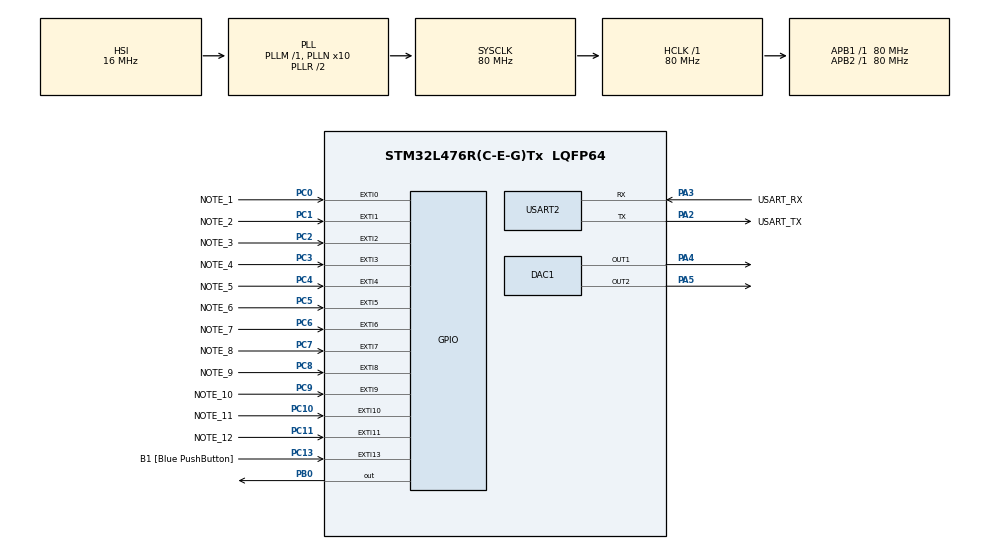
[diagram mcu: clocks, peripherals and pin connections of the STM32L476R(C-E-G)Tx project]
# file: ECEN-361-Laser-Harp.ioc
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DAC1.DAC_Channel-DAC_OUT2=DAC_CHANNEL_2
Mcu.Family=STM32L4
Mcu.Name=STM32L476R(C-E-G)Tx
Mcu.Package=LQFP64
NVIC.EXTI0_IRQn=true\:0\:0\:false\:false\:true\:true\:true\:true
NVIC.EXTI15_10_IRQn=true\:0\:0\:false\:false\:true\:true\:true\:true
NVIC.EXTI1_IRQn=true\:0\:0\:false\:false\:true\:true\:true\:true
NVIC.EXTI2_IRQn=true\:0\:0\:false\:false\:true\:true\:true\:true
NVIC.EXTI3_IRQn=true\:0\:0\:false\:false\:true\:true\:true\:true
NVIC.EXTI4_IRQn=true\:0\:0\:false\:false\:true\:true\:true\:true
NVIC.EXTI9_5_IRQn=true\:0\:0\:false\:false\:true\:true\:true\:true
NVIC.PriorityGroup=NVIC_PRIORITYGROUP_4
NVIC.TIM1_BRK_TIM15_IRQn=true\:0\:0\:false\:false\:true\:true\:true\:true
NVIC.TIM6_DAC_IRQn=true\:0\:0\:false\:false\:true\:true\:true\:true
NVIC.USART2_IRQn=true\:0\:0\:false\:false\:true\:true\:true\:true
PA13\ (JTMS-SWDIO).GPIO_Label=TMS
PA13\ (JTMS-SWDIO).Mode=Serial_Wire
PA13\ (JTMS-SWDIO).Signal=SYS_JTMS-SWDIO
PA14\ (JTCK-SWCLK).GPIO_Label=TCK
PA14\ (JTCK-SWCLK).Mode=Serial_Wire
PA14\ (JTCK-SWCLK).Signal=SYS_JTCK-SWCLK
PA2.GPIO_Label=USART_TX
PA2.GPIO_Mode=GPIO_MODE_AF_PP
PA2.GPIO_PuPd=GPIO_NOPULL
PA2.GPIO_Speed=GPIO_SPEED_FREQ_VERY_HIGH
PA2.Mode=Asynchronous
PA2.Signal=USART2_TX
PA3.GPIO_Label=USART_RX
PA3.GPIO_Mode=GPIO_MODE_AF_PP
PA3.GPIO_PuPd=GPIO_NOPULL
PA3.GPIO_Speed=GPIO_SPEED_FREQ_VERY_HIGH
PA3.Mode=Asynchronous
PA3.Signal=USART2_RX
PA4.Signal=COMP_DAC11_group
PA5.Signal=COMP_DAC12_group
PB0.Signal=GPIO_Output
PB3\ (JTDO-TRACESWO).GPIO_Label=SWO
PB3\ (JTDO-TRACESWO).Signal=SYS_JTDO-SWO
PC0.GPIO_Label=NOTE_1
PC0.GPIO_ModeDefaultEXTI=GPIO_MODE_IT_RISING
PC0.GPIO_PuPd=GPIO_PULLDOWN
PC0.Signal=GPXTI0
PC1.GPIO_Label=NOTE_2
PC1.GPIO_PuPd=GPIO_PULLDOWN
PC1.Signal=GPXTI1
PC10.GPIO_Label=NOTE_11
PC10.GPIO_PuPd=GPIO_PULLDOWN
PC10.Signal=GPXTI10
PC11.GPIO_Label=NOTE_12
PC11.GPIO_PuPd=GPIO_PULLDOWN
PC11.Signal=GPXTI11
PC13.GPIO_Label=B1 [Blue PushButton]
PC13.GPIO_ModeDefaultEXTI=GPIO_MODE_IT_FALLING
PC13.GPIO_PuPd=GPIO_NOPULL
PC13.Signal=GPXTI13
PC14-OSC32_IN\ (PC14).Mode=LSE-External-Oscillator
PC14-OSC32_IN\ (PC14).Signal=RCC_OSC32_IN
PC15-OSC32_OUT\ (PC15).Mode=LSE-External-Oscillator
PC15-OSC32_OUT\ (PC15).Signal=RCC_OSC32_OUT
PC2.GPIO_Label=NOTE_3
PC2.GPIO_PuPd=GPIO_PULLDOWN
PC2.Signal=GPXTI2
PC3.GPIO_Label=NOTE_4
PC3.GPIO_PuPd=GPIO_PULLDOWN
PC3.Signal=GPXTI3
PC4.GPIO_Label=NOTE_5
PC4.GPIO_PuPd=GPIO_PULLDOWN
PC4.Signal=GPXTI4
PC5.GPIO_Label=NOTE_6
PC5.GPIO_PuPd=GPIO_PULLDOWN
PC5.Signal=GPXTI5
PC6.GPIO_Label=NOTE_7
PC6.GPIO_PuPd=GPIO_PULLDOWN
PC6.Signal=GPXTI6
PC7.GPIO_Label=NOTE_8
PC7.GPIO_PuPd=GPIO_PULLDOWN
PC7.Signal=GPXTI7
PC8.GPIO_Label=NOTE_9
PC8.GPIO_PuPd=GPIO_PULLDOWN
PC8.Signal=GPXTI8
PC9.GPIO_Label=NOTE_10
PC9.GPIO_PuPd=GPIO_PULLDOWN
PC9.Signal=GPXTI9
PH0-OSC_IN\ (PH0).Signal=RCC_OSC_IN
PH1-OSC_OUT\ (PH1).Signal=RCC_OSC_OUT
ProjectManager.HeapSize=0x200
ProjectManager.StackSize=0x400
ProjectManager.TargetToolchain=STM32CubeIDE
RCC.ADCFreq_Value=64000000
RCC.AHBFreq_Value=80000000
RCC.APB1Freq_Value=80000000
RCC.APB1TimFreq_Value=80000000
RCC.APB2Freq_Value=80000000
RCC.APB2TimFreq_Value=80000000
RCC.CortexFreq_Value=80000000
RCC.HCLKFreq_Value=80000000
RCC.HSE_VALUE=8000000
RCC.HSI_VALUE=16000000
RCC.MSI_VALUE=4000000
RCC.PLLN=10
RCC.PLLSourceVirtual=RCC_PLLSOURCE_HSI
RCC.PREFETCH_ENABLE=1
RCC.SYSCLKFreq_VALUE=80000000
RCC.SYSCLKSource=RCC_SYSCLKSOURCE_PLLCLK
RCC.USBFreq_Value=64000000
RCC.VCOOutputFreq_Value=160000000
SH.COMP_DAC11_group.0=DAC1_OUT1,DAC_OUT1
SH.COMP_DAC12_group.0=DAC1_OUT2,DAC_OUT2
TIM15.AutoReloadPreload=TIM_AUTORELOAD_PRELOAD_ENABLE
TIM15.Period=9
TIM15.Prescaler=80-1
USART2.VirtualMode-Asynchronous=VM_ASYNC
VP_TIM15_VS_ClockSourceINT.Mode=Internal
board=NUCLEO-L476RG

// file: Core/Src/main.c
/* USER CODE BEGIN Header */
/*
    __                               __  __
   / /   ____ _ _____ ___   _____   / / / /____ _ _____ ____
  / /   / __ `// ___// _ \ / ___/  / /_/ // __ `// ___// __ \
 / /___/ /_/ /(__  )/  __// /     / __  // /_/ // /   / /_/ /
/_____/\__,_//____/ \___//_/     /_/ /_/ \__,_//_/   / .___/
                                                    /_/
*/
/**
  ******************************************************************************
  * @file           : main.c
  * @brief          : Main program body
  ******************************************************************************
  * @attention
  *
  * Copyright (c) 2024 STMicroelectronics.
  * All rights reserved.
  *
  * This software is licensed under terms that can be found in the LICENSE file
  * in the root directory of this software component.
  * If no LICENSE file comes with this software, it is provided AS-IS.
  *
  ******************************************************************************
  * Authors: Ian Searle
  * Version: 1.0.0
  */
/* USER CODE END Header */
#include "main.h"

/* USER CODE BEGIN Includes */
#include "sine_tables.h"

/* USER CODE END Includes */

/* USER CODE BEGIN PM */

/* These defines represent the point in a list where that notes data is held.*/
#define NOTE_C 		0
#define NOTE_Cs 	1
#define NOTE_D 		2
#define NOTE_Ds 	3
#define NOTE_E 		4
#define NOTE_F 		5
#define NOTE_Fs 	6
#define NOTE_G 		7
#define NOTE_Gs 	8
#define NOTE_A 		9
#define NOTE_As		10
#define NOTE_B 		11

/* USER CODE END PM */

DAC_HandleTypeDef hdac1;

TIM_HandleTypeDef htim15;

UART_HandleTypeDef huart2;

/* USER CODE BEGIN PV */
/* Index and Active are lists that are 12 long. This is to improve spatial locality in the program.
Using the above stated define we can thats notes data from the list*/
int index[]= {0,0,0,0,0,0,0,0,0,0,0,0};
int active[] = {1,0,0,0,0,0,0,0,0,0,0,0};

int wave_out= 0;

/* USER CODE END PV */

void SystemClock_Config(void);
static void MX_GPIO_Init(void);
static void MX_USART2_UART_Init(void);
static void MX_DAC1_Init(void);
static void MX_TIM15_Init(void);

int main(void)
{

  /* MCU Configuration--------------------------------------------------------*/

  /* Reset of all peripherals, Initializes the Flash interface and the Systick. */
  HAL_Init();

  /* Configure the system clock */
  SystemClock_Config();

  /* Initialize all configured peripherals */
  MX_GPIO_Init();
  MX_USART2_UART_Init();
  MX_DAC1_Init();
  MX_TIM15_Init();
  /* USER CODE BEGIN 2 */

  HAL_TIM_Base_Start_IT(&htim15); // Start the Music Interrupt Timer

  HAL_DAC_Start(&hdac1, DAC_CHANNEL_2); // Start one of the dac channels

  /* USER CODE END 2 */

  /* Infinite loop */
  /* USER CODE BEGIN WHILE */
  while (1)
  {
    // No Main While needed
    /* USER CODE END WHILE */

  }
}

void SystemClock_Config(void)
{
  RCC_OscInitTypeDef RCC_OscInitStruct = {0};
  RCC_ClkInitTypeDef RCC_ClkInitStruct = {0};

  /** Configure the main internal regulator output voltage
  */
  if (HAL_PWREx_ControlVoltageScaling(PWR_REGULATOR_VOLTAGE_SCALE1) != HAL_OK)
  {
    Error_Handler();
  }

  /** Initializes the RCC Oscillators according to the specified parameters
  * in the RCC_OscInitTypeDef structure.
  */
  RCC_OscInitStruct.OscillatorType = RCC_OSCILLATORTYPE_HSI;
  RCC_OscInitStruct.HSIState = RCC_HSI_ON;
  RCC_OscInitStruct.HSICalibrationValue = RCC_HSICALIBRATION_DEFAULT;
  RCC_OscInitStruct.PLL.PLLState = RCC_PLL_ON;
  RCC_OscInitStruct.PLL.PLLSource = RCC_PLLSOURCE_HSI;
  RCC_OscInitStruct.PLL.PLLM = 1;
  RCC_OscInitStruct.PLL.PLLN = 10;
  RCC_OscInitStruct.PLL.PLLP = RCC_PLLP_DIV7;
  RCC_OscInitStruct.PLL.PLLQ = RCC_PLLQ_DIV2;
  RCC_OscInitStruct.PLL.PLLR = RCC_PLLR_DIV2;
  if (HAL_RCC_OscConfig(&RCC_OscInitStruct) != HAL_OK)
  {
    Error_Handler();
  }

  /** Initializes the CPU, AHB and APB buses clocks
  */
  RCC_ClkInitStruct.ClockType = RCC_CLOCKTYPE_HCLK|RCC_CLOCKTYPE_SYSCLK
                              |RCC_CLOCKTYPE_PCLK1|RCC_CLOCKTYPE_PCLK2;
  RCC_ClkInitStruct.SYSCLKSource = RCC_SYSCLKSOURCE_PLLCLK;
  RCC_ClkInitStruct.AHBCLKDivider = RCC_SYSCLK_DIV1;
  RCC_ClkInitStruct.APB1CLKDivider = RCC_HCLK_DIV1;
  RCC_ClkInitStruct.APB2CLKDivider = RCC_HCLK_DIV1;

  if (HAL_RCC_ClockConfig(&RCC_ClkInitStruct, FLASH_LATENCY_4) != HAL_OK)
  {
    Error_Handler();
  }
}

static void MX_DAC1_Init(void)
{

  DAC_ChannelConfTypeDef sConfig = {0};

  /** DAC Initialization
  */
  hdac1.Instance = DAC1;
  if (HAL_DAC_Init(&hdac1) != HAL_OK)
  {
    Error_Handler();
  }

  /** DAC channel OUT1 config
  */
  sConfig.DAC_SampleAndHold = DAC_SAMPLEANDHOLD_DISABLE;
  sConfig.DAC_Trigger = DAC_TRIGGER_NONE;
  sConfig.DAC_OutputBuffer = DAC_OUTPUTBUFFER_ENABLE;
  sConfig.DAC_ConnectOnChipPeripheral = DAC_CHIPCONNECT_DISABLE;
  sConfig.DAC_UserTrimming = DAC_TRIMMING_FACTORY;
  if (HAL_DAC_ConfigChannel(&hdac1, &sConfig, DAC_CHANNEL_1) != HAL_OK)
  {
    Error_Handler();
  }

  /** DAC channel OUT2 config
  */
  if (HAL_DAC_ConfigChannel(&hdac1, &sConfig, DAC_CHANNEL_2) != HAL_OK)
  {
    Error_Handler();
  }

}

static void MX_TIM15_Init(void)
{

  TIM_ClockConfigTypeDef sClockSourceConfig = {0};
  TIM_MasterConfigTypeDef sMasterConfig = {0};

  htim15.Instance = TIM15;
  htim15.Init.Prescaler = 80-1;
  htim15.Init.CounterMode = TIM_COUNTERMODE_UP;
  htim15.Init.Period = 9;
  htim15.Init.ClockDivision = TIM_CLOCKDIVISION_DIV1;
  htim15.Init.RepetitionCounter = 0;
  htim15.Init.AutoReloadPreload = TIM_AUTORELOAD_PRELOAD_ENABLE;
  if (HAL_TIM_Base_Init(&htim15) != HAL_OK)
  {
    Error_Handler();
  }
  sClockSourceConfig.ClockSource = TIM_CLOCKSOURCE_INTERNAL;
  if (HAL_TIM_ConfigClockSource(&htim15, &sClockSourceConfig) != HAL_OK)
  {
    Error_Handler();
  }
  sMasterConfig.MasterOutputTrigger = TIM_TRGO_RESET;
  sMasterConfig.MasterSlaveMode = TIM_MASTERSLAVEMODE_DISABLE;
  if (HAL_TIMEx_MasterConfigSynchronization(&htim15, &sMasterConfig) != HAL_OK)
  {
    Error_Handler();
  }

}

static void MX_USART2_UART_Init(void)
{

  huart2.Instance = USART2;
  huart2.Init.BaudRate = 115200;
  huart2.Init.WordLength = UART_WORDLENGTH_8B;
  huart2.Init.StopBits = UART_STOPBITS_1;
  huart2.Init.Parity = UART_PARITY_NONE;
  huart2.Init.Mode = UART_MODE_TX_RX;
  huart2.Init.HwFlowCtl = UART_HWCONTROL_NONE;
  huart2.Init.OverSampling = UART_OVERSAMPLING_16;
  huart2.Init.OneBitSampling = UART_ONE_BIT_SAMPLE_DISABLE;
  huart2.AdvancedInit.AdvFeatureInit = UART_ADVFEATURE_NO_INIT;
  if (HAL_UART_Init(&huart2) != HAL_OK)
  {
    Error_Handler();
  }

}

static void MX_GPIO_Init(void)
{
  GPIO_InitTypeDef GPIO_InitStruct = {0};

  /* GPIO Ports Clock Enable */
  __HAL_RCC_GPIOC_CLK_ENABLE();
  __HAL_RCC_GPIOH_CLK_ENABLE();
  __HAL_RCC_GPIOA_CLK_ENABLE();
  __HAL_RCC_GPIOB_CLK_ENABLE();

  /*Configure GPIO pin Output Level */
  HAL_GPIO_WritePin(GPIOB, GPIO_PIN_0, GPIO_PIN_RESET);

  /*Configure GPIO pin : B1_Pin */
  GPIO_InitStruct.Pin = B1_Pin;
  GPIO_InitStruct.Mode = GPIO_MODE_IT_FALLING;
  GPIO_InitStruct.Pull = GPIO_NOPULL;
  HAL_GPIO_Init(B1_GPIO_Port, &GPIO_InitStruct);

  /*Configure GPIO pins : NOTE_1_Pin NOTE_2_Pin NOTE_3_Pin NOTE_4_Pin
                           NOTE_5_Pin NOTE_6_Pin NOTE_7_Pin NOTE_8_Pin
                           NOTE_9_Pin NOTE_10_Pin NOTE_11_Pin NOTE_12_Pin */
  GPIO_InitStruct.Pin = NOTE_1_Pin|NOTE_2_Pin|NOTE_3_Pin|NOTE_4_Pin
                          |NOTE_5_Pin|NOTE_6_Pin|NOTE_7_Pin|NOTE_8_Pin
                          |NOTE_9_Pin|NOTE_10_Pin|NOTE_11_Pin|NOTE_12_Pin;
  GPIO_InitStruct.Mode = GPIO_MODE_IT_RISING;
  GPIO_InitStruct.Pull = GPIO_PULLDOWN;
  HAL_GPIO_Init(GPIOC, &GPIO_InitStruct);

  /*Configure GPIO pin : PB0 */
  GPIO_InitStruct.Pin = GPIO_PIN_0;
  GPIO_InitStruct.Mode = GPIO_MODE_OUTPUT_PP;
  GPIO_InitStruct.Pull = GPIO_NOPULL;
  GPIO_InitStruct.Speed = GPIO_SPEED_FREQ_LOW;
  HAL_GPIO_Init(GPIOB, &GPIO_InitStruct);

  /* EXTI interrupt init*/
  HAL_NVIC_SetPriority(EXTI0_IRQn, 0, 0);
  HAL_NVIC_EnableIRQ(EXTI0_IRQn);

  HAL_NVIC_SetPriority(EXTI1_IRQn, 0, 0);
  HAL_NVIC_EnableIRQ(EXTI1_IRQn);

  HAL_NVIC_SetPriority(EXTI2_IRQn, 0, 0);
  HAL_NVIC_EnableIRQ(EXTI2_IRQn);

  HAL_NVIC_SetPriority(EXTI3_IRQn, 0, 0);
  HAL_NVIC_EnableIRQ(EXTI3_IRQn);

  HAL_NVIC_SetPriority(EXTI4_IRQn, 0, 0);
  HAL_NVIC_EnableIRQ(EXTI4_IRQn);

  HAL_NVIC_SetPriority(EXTI9_5_IRQn, 0, 0);
  HAL_NVIC_EnableIRQ(EXTI9_5_IRQn);

  HAL_NVIC_SetPriority(EXTI15_10_IRQn, 0, 0);
  HAL_NVIC_EnableIRQ(EXTI15_10_IRQn);

}

/* USER CODE BEGIN 4 */
void HAL_GPIO_EXTI_Callback(uint16_t GPIO_Pin){
	HAL_GPIO_TogglePin(GPIOB, GPIO_PIN_0);
	switch (GPIO_Pin) {
	case NOTE_1_Pin:
		active[NOTE_C] = !active[NOTE_C];
		break;
	case NOTE_2_Pin:
		active[NOTE_Cs] = !active[NOTE_Cs];
		break;
	case NOTE_3_Pin:
		active[NOTE_D] = !active[NOTE_D];
		break;
	case NOTE_4_Pin:
		active[NOTE_Ds] = !active[NOTE_Ds];
		break;
	case NOTE_5_Pin:
		active[NOTE_E] = !active[NOTE_E];
		break;
	case NOTE_6_Pin:
		active[NOTE_F] = !active[NOTE_F];
		break;
	case NOTE_7_Pin:
		active[NOTE_Fs] = !active[NOTE_Fs];
		break;
	case NOTE_8_Pin:
		active[NOTE_G] = !active[NOTE_G];
		break;
	case NOTE_9_Pin:
		active[NOTE_Gs] = !active[NOTE_Gs];
		break;
	case NOTE_10_Pin:
		active[NOTE_A] = !active[NOTE_A];
		break;
	case NOTE_11_Pin:
		active[NOTE_As] = !active[NOTE_As];
		break;
	case NOTE_12_Pin:
		active[NOTE_B] = !active[NOTE_B];
		break;

	default:
		break;
	}
}

// Callback: timer has rolled over
void HAL_TIM_PeriodElapsedCallback(TIM_HandleTypeDef *htim)
{
  if (htim == &htim15 )
  {
    /* ***************************************************************
    * This first batch of values is to look update the value for each Note.
    * By using a list and different indexs we can speed up the program with good spatial locality
    * If the note is active then we update the value. Otherwise we return a zero.
    ***************************************************************************/
	  int C_val = 	active[NOTE_C]?C_TABLE[index[NOTE_C]]:0;
	  int Cs_val = 	active[NOTE_Cs]?Cs_TABLE[index[NOTE_Cs]]:0;
	  int D_val = 	active[NOTE_D]?D_TABLE[index[NOTE_D]]:0;
	  int Ds_val = 	active[NOTE_Ds]?Ds_TABLE[index[NOTE_Ds]]:0;
	  int E_val = 	active[NOTE_E]?E_TABLE[index[NOTE_E]]:0;
	  int F_val = 	active[NOTE_F]?F_TABLE[index[NOTE_F]]:0;
	  int Fs_val = 	active[NOTE_Fs]?Fs_TABLE[index[NOTE_Fs]]:0;
	  int G_val = 	active[NOTE_G]?G_TABLE[index[NOTE_G]]:0;
	  int Gs_val = 	active[NOTE_Gs]?Gs_TABLE[index[NOTE_Gs]]:0;
	  int A_val = 	active[NOTE_A]?A_TABLE[index[NOTE_A]]:0;
	  int As_val = 	active[NOTE_As]?As_TABLE[index[NOTE_As]]:0;
	  int B_val = 	active[NOTE_B]?B_TABLE[index[NOTE_B]]:0;

    /* ***************************************************************
    This batch of code is to just update the index if the note is active.
    Since the active list should only ever hold a 0 or a 1, this code works. Avoid if statements
      ***************************************************************************/
	  index[NOTE_C] 	+= 	active[NOTE_C];
	  index[NOTE_Cs] 	+= 	active[NOTE_Cs];
	  index[NOTE_D]		+= 	active[NOTE_D];
	  index[NOTE_Ds] 	+= 	active[NOTE_Ds];
	  index[NOTE_E] 	+= 	active[NOTE_E];
	  index[NOTE_F] 	+= 	active[NOTE_F];
	  index[NOTE_Fs] 	+= 	active[NOTE_Fs];
	  index[NOTE_G] 	+= 	active[NOTE_G];
	  index[NOTE_Gs] 	+= 	active[NOTE_Gs];
	  index[NOTE_A] 	+= 	active[NOTE_A];
	  index[NOTE_As] 	+= 	active[NOTE_As];
	  index[NOTE_B] 	+= 	active[NOTE_B];

		wave_out = C_val + Cs_val + Ds_val + D_val + E_val + F_val + Fs_val
				+ G_val + Gs_val + A_val + As_val + B_val; // Calculate the Sum of the wave
		int temp_wave = wave_out * 12 / 1; // This is for debugging purposes. Also 12/4 is to create the new offset for only using 4 notes

		HAL_DAC_SetValue(&hdac1, DAC1_CHANNEL_2, DAC_ALIGN_12B_L, temp_wave); // Output the wave
		/****************************************************************
		 This final section of Code is to handle the reseting of each index.
		 *********************************************************************/
		if (index[NOTE_C] > C_SAMPLES)
			index[NOTE_C] = 0;
		if (index[NOTE_Cs] > Cs_SAMPLES)
			index[NOTE_Cs] = 0;
		if (index[NOTE_D] > D_SAMPLES)
			index[NOTE_D] = 0;
		if (index[NOTE_Ds] > Ds_SAMPLES)
			index[NOTE_Ds] = 0;
		if (index[NOTE_E] > E_SAMPLES)
			index[NOTE_E] = 0;
		if (index[NOTE_F] > F_SAMPLES)
			index[NOTE_F] = 0;
		if (index[NOTE_Fs] > Fs_SAMPLES)
			index[NOTE_Fs] = 0;
		if (index[NOTE_G] > G_SAMPLES)
			index[NOTE_G] = 0;
		if (index[NOTE_Gs] > Gs_SAMPLES)
			index[NOTE_Gs] = 0;
		if (index[NOTE_A] > A_SAMPLES)
			index[NOTE_A] = 0;
		if (index[NOTE_As] > As_SAMPLES)
			index[NOTE_As] = 0;
		if (index[NOTE_B] > B_SAMPLES)
			index[NOTE_B] = 0;

  }
}
/* USER CODE END 4 */

void Error_Handler(void)
{
  __disable_irq();
  while (1)
  {
  }
}
